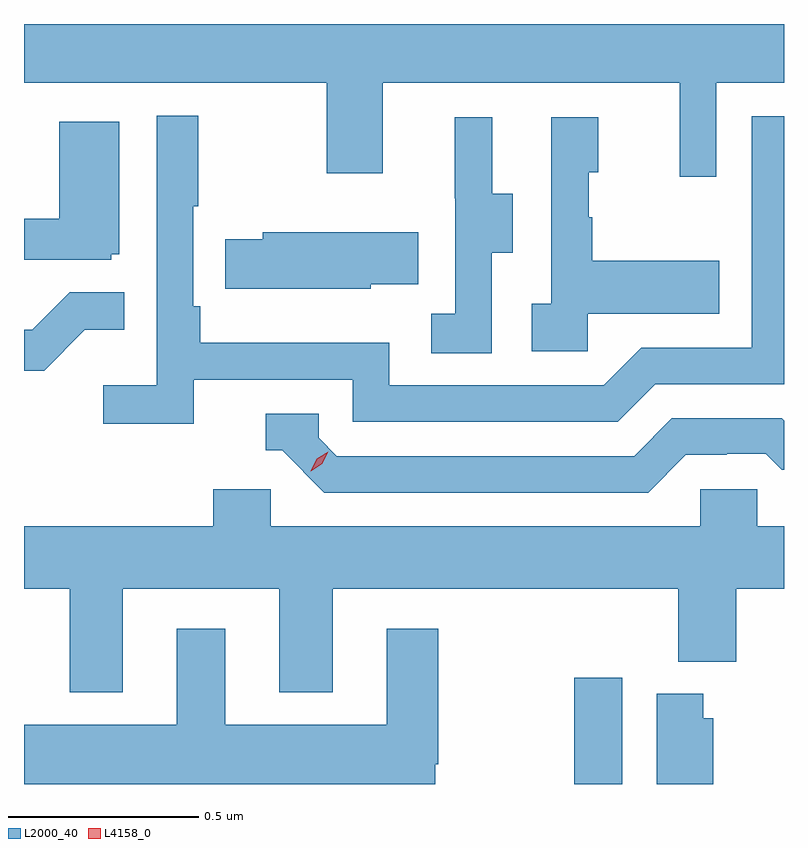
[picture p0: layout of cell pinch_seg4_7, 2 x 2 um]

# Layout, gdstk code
import gdstk
lib = gdstk.Library(unit=1e-6, precision=1e-09)
def R(c, l, rs):  # rectangles x0, y0, x1, y1
    for r in rs: c.add(gdstk.rectangle(r[:2], r[2:], *l))
def P(c, l, *ps):  # polygons
    for p in ps: c.add(gdstk.Polygon(p, *l))
L2000_40 = (2000, 40)
L4158_0 = (4158, 0)

pinch_seg4_7 = lib.new_cell('pinch_seg4_7')
R(pinch_seg4_7, L2000_40, [(1085.557,825.61,1085.683,825.889)])
P(pinch_seg4_7, L2000_40, [(1085.931,827.456),(1086.109,827.456),(1086.109,827.61),(1084.109,827.61),(1084.109,827.456),(1084.906,827.456),(1084.906,827.217),(1085.053,827.217),(1085.053,827.456),(1085.834,827.456),(1085.834,827.208),(1085.931,827.208)],
  [(1084.556,826.674),(1084.974,826.674),(1084.974,826.563),(1085.671,826.563),(1085.77,826.662),(1086.109,826.662),(1086.109,827.367),(1086.024,827.367),(1086.024,826.758),(1085.733,826.758),(1085.634,826.659),(1085.07,826.659),(1085.07,826.771),(1084.573,826.771),(1084.573,826.867),(1084.554,826.867),(1084.554,827.131),(1084.567,827.131),(1084.567,827.368),(1084.458,827.368),(1084.458,826.66),(1084.317,826.66),(1084.317,826.558),(1084.556,826.558)],
  [(1085.592,826.847),(1085.939,826.847),(1085.939,826.987),(1085.605,826.987),(1085.605,827.102),(1085.595,827.102),(1085.595,827.22),(1085.62,827.22),(1085.62,827.365),(1085.496,827.365),(1085.496,826.874),(1085.445,826.874),(1085.445,826.749),(1085.592,826.749)],
  [(1085.34,827.008),(1085.395,827.008),(1085.395,827.163),(1085.341,827.163),(1085.341,827.365),(1085.243,827.365),(1085.243,827.151),(1085.244,827.151),(1085.244,826.847),(1085.181,826.847),(1085.181,826.744),(1085.34,826.744)],
  [(1084.338,827.004),(1084.36,827.004),(1084.36,827.353),(1084.202,827.353),(1084.202,827.098),(1084.109,827.098),(1084.109,826.989),(1084.338,826.989)],
  [(1085.022,826.925),(1085.147,826.925),(1085.147,827.062),(1084.737,827.062),(1084.737,827.043),(1084.639,827.043),(1084.639,826.913),(1085.022,826.913)],
  [(1084.269,826.805),(1084.373,826.805),(1084.373,826.904),(1084.229,826.904),(1084.131,826.806),(1084.109,826.806),(1084.109,826.698),(1084.162,826.698)],
  [(1085.851,826.476),(1085.958,826.476),(1085.958,826.479),(1086.061,826.479),(1086.103,826.437),(1086.109,826.437),(1086.109,826.566),(1086.103,826.572),(1085.814,826.572),(1085.715,826.473),(1084.932,826.473),(1084.884,826.521),(1084.884,826.584),(1084.745,826.584),(1084.745,826.488),(1084.788,826.488),(1084.899,826.377),(1085.752,826.377)],
  [(1084.369,826.124),(1084.781,826.124),(1084.781,825.851),(1084.921,825.851),(1084.921,826.124),(1085.831,826.124),(1085.831,825.932),(1085.983,825.932),(1085.983,826.124),(1086.109,826.124),(1086.109,826.288),(1086.039,826.288),(1086.039,826.386),(1085.889,826.386),(1085.889,826.288),(1084.758,826.288),(1084.758,826.386),(1084.607,826.386),(1084.607,826.288),(1084.109,826.288),(1084.109,826.124),(1084.229,826.124),(1084.229,825.851),(1084.369,825.851)],
  [(1085.191,825.662),(1085.199,825.662),(1085.199,826.018),(1085.063,826.018),(1085.063,825.766),(1084.639,825.766),(1084.639,826.018),(1084.511,826.018),(1084.511,825.766),(1084.109,825.766),(1084.109,825.61),(1085.191,825.61)],
  [(1085.923,825.783),(1085.896,825.783),(1085.896,825.847),(1085.774,825.847),(1085.774,825.61),(1085.923,825.61)])
P(pinch_seg4_7, L4158_0, [(1084.863,826.433),(1084.863,826.433),(1084.879,826.466),(1084.909,826.485),(1084.909,826.485),(1084.909,826.485),(1084.894,826.453),(1084.864,826.433)])

lib.write_gds('pinch_seg4_7.gds')
